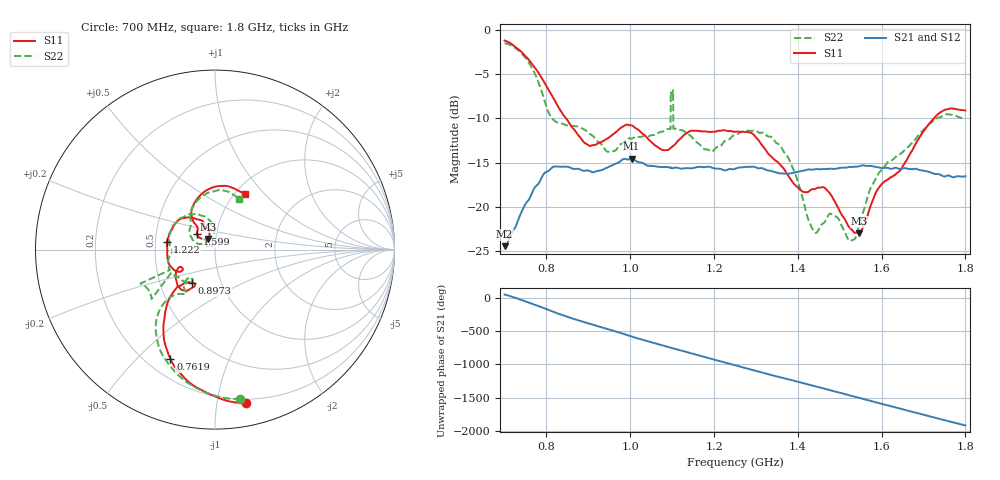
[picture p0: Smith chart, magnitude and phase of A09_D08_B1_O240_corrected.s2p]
! Created with skrf 1.9.0 (http://scikit-rf.org).
# Hz S RI R 50.0
!freq ReS11 ImS11 ReS21 ImS21 ReS12 ImS12 ReS22 ImS22
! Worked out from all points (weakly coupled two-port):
!   1601 points, 700 MHz to 1.8 GHz, reference 50 ohm
!   highest |S21| = -14.56 dB at 1.003 GHz (marker M1); lowest = -24.5 dB at 700 MHz (marker M2)
!   lowest |S11| = -23.0 dB at 1.547 GHz (marker M3), VSWR 1.15, Z = 45.9 + j5.41 ohm
!   |S11| at or under -10 dB: 846.7 MHz to 1.725 GHz (877.9 MHz wide, 68.3 % of centre)
!   |S22| runs from -23.9 to -1.5 dB; largest |S21 - S12| = 0.0037
!   S11 on the Smith chart (normalised r, x): 700 MHz: 0.17, -1.21; 761.9 MHz: 0.29, -0.63; 897.3 MHz: 0.73, -0.28; 1.222 GHz: 0.58, +0.06; 1.599 GHz: 0.81, +0.14; 1.8 GHz: 1.10, +0.78
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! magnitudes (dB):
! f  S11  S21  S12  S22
! 700 MHz  -1.2  -24.5  -24.2  -1.5
! 761.9 MHz  -3.6  -18.8  -18.8  -4.0
! 813.4 MHz  -7.5  -15.6  -15.6  -10.0
! 883.6 MHz  -12.3  -15.9  -15.8  -11.1
! 897.3 MHz  -13.0  -15.9  -16.0  -11.5
! 947.5 MHz  -12.2  -15.5  -15.5  -13.8
! 1.003 GHz  -10.8  -14.6  -14.7  -12.3
! 1.067 GHz  -13.3  -15.5  -15.4  -11.6
! 1.102 GHz  -13.1  -15.6  -15.6  -6.8
! 1.108 GHz  -12.8  -15.6  -15.6  -11.2
! 1.174 GHz  -11.5  -15.5  -15.5  -13.4
! 1.222 GHz  -11.3  -15.8  -15.9  -12.7
! 1.25 GHz  -11.5  -15.7  -15.6  -11.9
! 1.358 GHz  -15.3  -16.2  -16.2  -13.1
! 1.434 GHz  -18.0  -15.8  -15.8  -22.4
! 1.48 GHz  -18.7  -15.7  -15.7  -20.8
! 1.527 GHz  -22.5  -15.5  -15.5  -23.8
! 1.547 GHz  -23.0  -15.4  -15.4  -22.0
! 1.599 GHz  -17.5  -15.6  -15.6  -15.9
! 1.617 GHz  -16.8  -15.6  -15.6  -14.9
! 1.733 GHz  -9.6  -16.3  -16.3  -10.0
! 1.8 GHz  -9.1  -16.6  -16.5  -10.1
